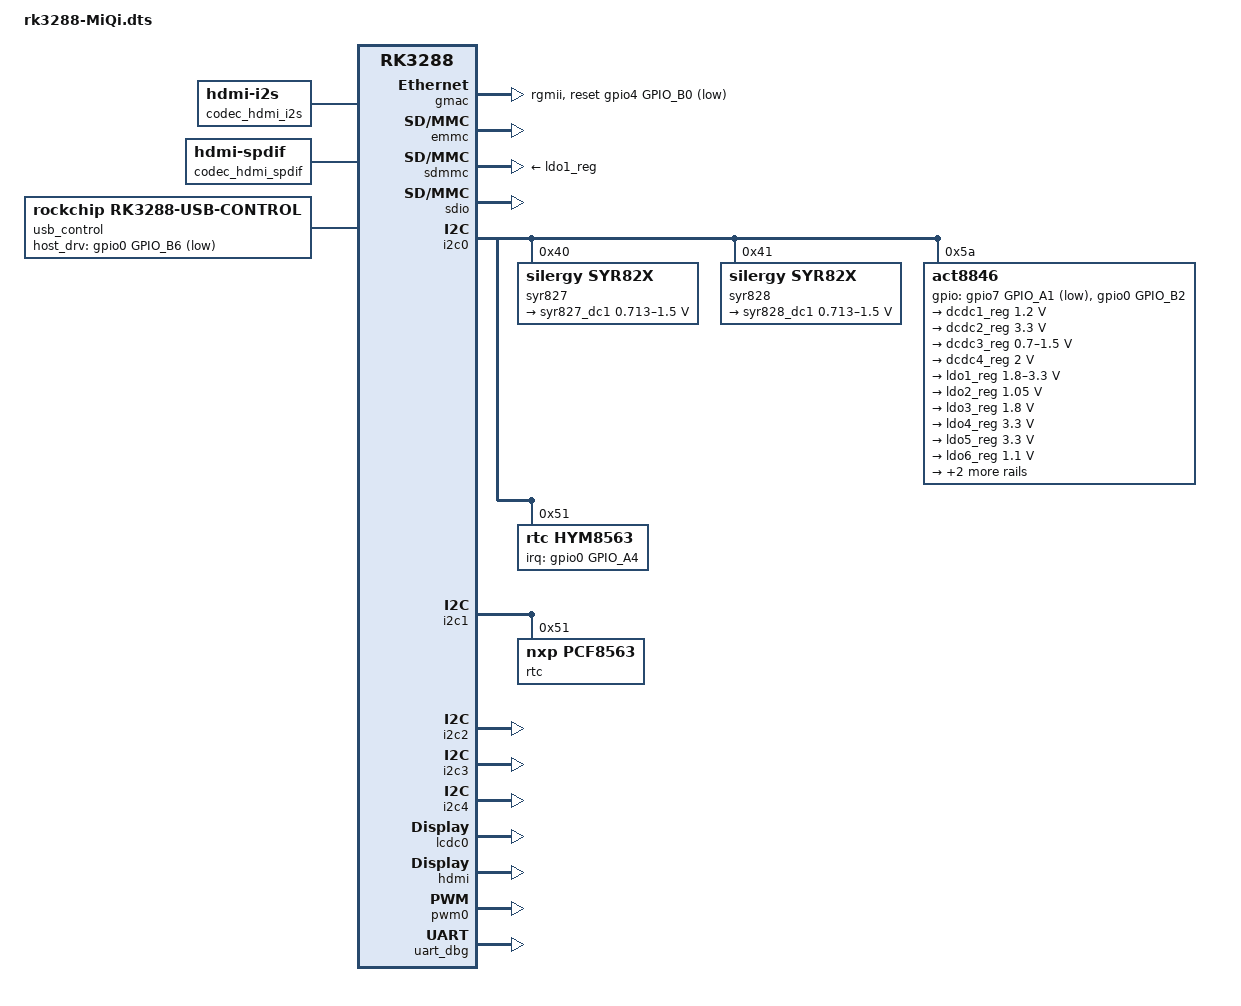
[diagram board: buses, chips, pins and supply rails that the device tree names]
/dts-v1/;

#include "rk3288.dtsi"
#include "lcd-box.dtsi"
#include <dt-bindings/input/input.h>

/ {
  fiq-debugger {
    status = "disabled";
  };

  hsic-usb-hub{
    compatible = "hub_reset";
    reset,pin =<&gpio7 GPIO_A6 GPIO_ACTIVE_HIGH>;	// hub reset pin
    status = "disabled";
  };

  wireless-wlan {
    compatible = "wlan-platdata";

    /* wifi_chip_type - wifi chip define
     * bcmwifi ==> like ap6xxx, rk90x;
     * rtkwifi ==> like rtl8188xx, rtl8723xx,rtl8812auv;
     * esp8089 ==> esp8089;
     * other   ==> for other wifi;
     */
    wifi_chip_type = "rtkwifi";
    keep_wifi_power_on;
    status = "disabled";
  };

  wireless-bluetooth {
    status = "disabled";
  };

 codec_hdmi_i2s: codec-hdmi-i2s {
    compatible = "hdmi-i2s";
  };

 codec_hdmi_spdif: codec-hdmi-spdif {
    compatible = "hdmi-spdif";
  };

  rockchip-hdmi-i2s {
    status = "disabled";
    compatible = "rockchip-hdmi-i2s";
    dais {
      dai0 {
	audio-codec = <&codec_hdmi_i2s>;
	audio-controller = <&i2s>;
	format = "i2s";
	//continuous-clock;
	//bitclock-inversion;
	//frame-inversion;
	//bitclock-master;
	//frame-master;
      };
    };
  };

  usb_control {
    compatible = "rockchip,rk3288-usb-control";
    host_drv_gpio = <&gpio0 GPIO_B6 GPIO_ACTIVE_LOW>;
    rockchip,remote_wakeup;
    rockchip,usb_irq_wakeup;
  };
 };

&gmac {
  reset-gpio = <&gpio4 GPIO_B0 GPIO_ACTIVE_LOW>;
  phy-mode = "rgmii";
  clock_in_out = "input";
  tx_delay = <0x30>;
  rx_delay = <0x10>;
};

&pinctrl {
  //used for init some gpio

  init-gpios = <&gpio8 GPIO_A1 GPIO_ACTIVE_HIGH
    &gpio7 GPIO_B1 GPIO_ACTIVE_HIGH
    &gpio4 GPIO_B0 GPIO_ACTIVE_HIGH>;

  gpio0_gpio {
  gpio0_c2: gpio0-c2 {
      rockchip,pins = <GPIO0_C2>;
      rockchip,pull = <VALUE_PULL_DOWN>;
    };

  };

  gpio7_gpio {
  gpio7_b7: gpio7-b7 {
      rockchip,pins = <GPIO7_B7>;
      rockchip,pull = <VALUE_PULL_UP>;
    };

    //to add
  };
  //could add other pinctrl definition such as gpio

  // gmac drive strength
  gpio4_gmac {
  mac_clk: mac-clk {
      rockchip,drive = <VALUE_DRV_12MA>;
    };

  mac_txpins: mac-txpins {
      rockchip,drive = <VALUE_DRV_12MA>;
    };

  mac_rxpins: mac-rxpins {
      rockchip,drive = <VALUE_DRV_12MA>;
    };

  mac_crs: mac-crs {
      rockchip,drive = <VALUE_DRV_12MA>;
    };

  mac_mdpins: mac-mdpins {
      rockchip,drive = <VALUE_DRV_12MA>;
    };
  };
};

&emmc {
  clock-frequency = <750000000>;
  clock-freq-min-max = <400000 75000000>;

  supports-highspeed;
  supports-emmc;
  bootpart-no-access;
  supports-tSD;//only tsd-sdcard mode
  supports-DDR_MODE;
  caps2-mmc-hs200;

  ignore-pm-notify;
  keep-power-in-suspend;
  //poll-hw-reset
  status = "okay";
};

&sdmmc {
  clock-frequency = <50000000>;
  lock-freq-min-max = <400000 50000000>;
  supports-highspeed;
  supports-sd;
  broken-cd;
  card-detect-delay = <200>;

  ignore-pm-notify;
  keep-power-in-suspend;

  vmmc-supply = <&ldo1_reg>;
  status = "okay";
};

&sdio {
  clock-frequency = <50000000>;
  clock-freq-min-max = <200000 50000000>;
  supports-highspeed;
  supports-sdio;
  ignore-pm-notify;
  keep-power-in-suspend;
  //cap-sdio-irq;
  status = "okay";
};

&i2c0 {
  status = "okay";
 syr827: syr827@40 {
    compatible = "silergy,syr82x";
    reg = <0x40>;
    status = "okay";
    regulators {
#address-cells = <1>;
#size-cells = <0>;
    syr827_dc1: regulator@0 {
	reg = <0>;
	regulator-compatible = "syr82x_dcdc1";
	regulator-name = "vdd_arm";
	regulator-min-microvolt = <712500>;
	regulator-max-microvolt = <1500000>;
	regulator-always-on;
	regulator-boot-on;
	regulator-initial-mode = <0x2>;
	regulator-initial-state = <3>;
	regulator-state-mem {
	  regulator-state-mode = <0x2>;
	  regulator-state-enabled;
	  regulator-state-uv = <900000>;
	};
      };
    };
  };

 syr828: syr828@41 {
    compatible = "silergy,syr82x";
    reg = <0x41>;
    status = "okay";
    regulators {
#address-cells = <1>;
#size-cells = <0>;
    syr828_dc1: regulator@0 {
	reg = <0>;
	regulator-compatible = "syr82x_dcdc1";
	regulator-name = "vdd_gpu";
	regulator-min-microvolt = <712500>;
	regulator-max-microvolt = <1500000>;
	regulator-always-on;
	regulator-boot-on;
	regulator-initial-mode = <0x2>;
	regulator-initial-state = <3>;
	regulator-state-mem {
	  regulator-state-mode = <0x2>;
	  regulator-state-disabled;
	  regulator-state-uv = <900000>;
	};
      };
    };
  };
 act8846: act8846@5a {
    reg = <0x5a>;
    status = "okay";
  };

  rtc@51 {
    compatible = "rtc,hym8563";
    reg = <0x51>;
    irq_gpio = <&gpio0 GPIO_A4 IRQ_TYPE_EDGE_FALLING>;
  };
};

&i2c1 {
  status = "okay";
  rtc@51 {
    compatible = "nxp,pcf8563";
    reg = <0x51>;
  };
};

&i2c2 {
  status = "okay";
};

&i2c3 {
  status = "okay";
};

&i2c4 {
  status = "okay";
};

&i2c5 {
  status = "disabled";
};

&fb {
  rockchip,disp-mode = <DUAL>;
  rockchip,uboot-logo-on = <1>;
  rockchip,disp-policy = <DISPLAY_POLICY_BOX_TEMP>;
};

&disp_timings {
  native-mode = <&timing1>;
};

&rk_screen {
  display-timings = <&disp_timings>;
};

/*lcdc0 as PRMRY(HDMI)*/
&lcdc0 {
  status = "okay";
  rockchip,iommu-enabled = <1>;
  rockchip,prop = <PRMRY>;
};

&lcdc1 {
  status = "disabled";
  rockchip,iommu-enabled = <1>;
  rockchip,prop = <EXTEND>;
};

&hdmi {
  status = "okay";
  rockchip,cec_enable = <0>;
  rockchip,hdcp_enable = <0>;
};

&ion_cma {
  reg = <0x00000000 0x1000000>; /* 16MB */
};

&vpu {
  iommu_enabled = <1>;
};

&hevc {
  iommu_enabled = <1>;
};

&iep {
  iommu_enabled = <1>;
};

&clk_core_dvfs_table {
  support-pvtm = <1>;
  pvtm-operating-points = <
    /* KHz    uV	pvtm margin*/
    //		126000   900000	25000
    //		216000   900000	25000
    //		312000   900000	25000
    408000   900000	25000
    600000   950000	50000
    696000   950000	50000
    816000  1000000	50000
    1008000 1050000	75000
    1200000 1100000	75000
    1416000 1200000	75000
    1512000 1300000	75000
    1608000 1350000	75000
    //		1704000 1350000	75000
    //		1800000 1350000	75000
    >;
  status="okay";
};

&clk_gpu_dvfs_table {
  operating-points = <
    /* KHz    uV */
    //		100000 900000
    200000 900000
    300000 950000
    420000 1100000
    500000 1150000
    //		600000 1250000
    >;
  status="okay";
};

&clk_ddr_dvfs_table {
  operating-points = <
    /* KHz    uV */
    200000 1075000
    300000 1075000
    456000 1125000
    533000 1150000
    >;

  freq-table = <
    /*status		freq(KHz)*/
    SYS_STATUS_NORMAL	456000
    SYS_STATUS_SUSPEND	200000
    //SYS_STATUS_VIDEO_1080P  240000
    SYS_STATUS_VIDEO_4K     533000
    SYS_STATUS_PERFORMANCE  533000
    //SYS_STATUS_BOOST	324000
    //SYS_STATUS_ISP	400000
    >;
  auto-freq-table = <
    240000
    324000
    456000
    528000
    >;
  auto-freq=<0>;
  status="okay";
};
/include/ "act8846.dtsi"
&act8846 {
  gpios =<&gpio7 GPIO_A1 GPIO_ACTIVE_LOW>,<&gpio0 GPIO_B2 GPIO_ACTIVE_HIGH>;
  act8846,system-power-controller;

  regulators {

  dcdc1_reg: regulator@0{
      regulator-name= "act_dcdc1";
      regulator-min-microvolt = <1200000>;
      regulator-max-microvolt = <1200000>;
      regulator-always-on;
      regulator-boot-on;
    };

  dcdc2_reg: regulator@1 {
      regulator-name= "vccio";
      regulator-min-microvolt = <3300000>;
      regulator-max-microvolt = <3300000>;
      regulator-initial-state = <3>;
      regulator-state-mem {
	regulator-state-enabled;
	regulator-state-uv = <3300000>;
      };
    };

  dcdc3_reg: regulator@2 {
      regulator-name= "vdd_logic";
      regulator-min-microvolt = <700000>;
      regulator-max-microvolt = <1500000>;
      regulator-initial-state = <3>;
      regulator-state-mem {
	regulator-state-enabled;
	regulator-state-uv = <1200000>;
      };

    };

  dcdc4_reg: regulator@3 {
      regulator-name= "act_dcdc4";
      regulator-min-microvolt = <2000000>;
      regulator-max-microvolt = <2000000>;
      regulator-initial-state = <3>;
      regulator-state-mem {
	regulator-state-enabled;
	regulator-state-uv = <2000000>;
      };
    };

  ldo1_reg: regulator@4 {
      regulator-name= "vccio_sd";
      regulator-min-microvolt = <1800000>;
      regulator-max-microvolt = <3300000>;

    };

  ldo2_reg: regulator@5 {
      regulator-name= "act_ldo2";
      regulator-min-microvolt = <1050000>;
      regulator-max-microvolt = <1050000>;

    };

  ldo3_reg: regulator@6 {
      regulator-name= "act_ldo3";
      regulator-min-microvolt = <1800000>;
      regulator-max-microvolt = <1800000>;

    };

  ldo4_reg:regulator@7 {
      regulator-name= "act_ldo4";
      regulator-min-microvolt = <3300000>;
      regulator-max-microvolt = <3300000>;

    };

  ldo5_reg: regulator@8 {
      regulator-name= "act_ldo5";
      regulator-min-microvolt = <3300000>;
      regulator-max-microvolt = <3300000>;

    };

  ldo6_reg: regulator@9 {
      regulator-name= "act_ldo6";
      regulator-min-microvolt = <1100000>;
      regulator-max-microvolt = <1100000>;
      regulator-initial-state = <3>;
      regulator-state-mem {
	regulator-state-enabled;
      };

    };

  ldo7_reg: regulator@10 {
      regulator-name= "vcc_18";
      regulator-min-microvolt = <1800000>;
      regulator-max-microvolt = <1800000>;
      regulator-initial-state = <3>;
      regulator-state-mem {
	regulator-state-enabled;
      };

    };

  ldo8_reg: regulator@11 {
      regulator-name= "act_ldo8";
      regulator-min-microvolt = <1850000>;
      regulator-max-microvolt = <1850000>;

    };
  };
 };

&lcdc_vdd_domain {
  regulator-name = "vcc30_lcd";
};
&dpio_vdd_domain{
  regulator-name = "vcc18_cif";
};
&flash0_vdd_domain{
  regulator-name = "vcc_flash";
};
&flash1_vdd_domain{
  regulator-name = "vcc_flash";
};
&apio3_vdd_domain{
  regulator-name = "vccio_wl";
};
&apio5_vdd_domain{
  regulator-name = "vccio";
};
&apio4_vdd_domain{
  regulator-name = "vccio";
};
&apio1_vdd_domain{
  regulator-name = "vccio";
};
&apio2_vdd_domain{
  regulator-name = "vccio";
};
&sdmmc0_vdd_domain{
  regulator-name = "vcc_sd";
};

/*
 * Due to not have the software of PWM for remotectrl.
 * We can _*HACK*_ do that as the following.
 */
&pwm0 {
  compatible = "rockchip,remotectl-pwm";
  remote_pwm_id = <0>;
  handle_cpu_id = <1>;
  status = "okay";

  ir_key1{
    rockchip,usercode = <0x4040>;
    rockchip,key_table =
      <0xf2	KEY_REPLY>,
      <0xba	KEY_BACK>,
      <0xf4	KEY_UP>,
      <0xf1	KEY_DOWN>,
      <0xef	KEY_LEFT>,
      <0xee	KEY_RIGHT>,
      <0xbd	KEY_HOME>,
      <0xea	KEY_VOLUMEUP>,
      <0xe3	KEY_VOLUMEDOWN>,
      <0xe2	KEY_SEARCH>,
      <0xb2	KEY_POWER>,
      <0xbc	KEY_MUTE>,
      <0xec	KEY_MENU>,
      <0xbf	0x190>,
      <0xe0	0x191>,
      <0xe1	0x192>,
      <0xe9	183>,
      <0xe6	248>,
      <0xe8	185>,
      <0xe7	186>,
      <0xf0	388>,
      <0xbe	0x175>;
  };
  ir_key2{
    rockchip,usercode = <0xff00>;
    rockchip,key_table =
      <0xf9	KEY_HOME>,
      <0xbf	KEY_BACK>,
      <0xfb	KEY_MENU>,
      <0xaa	KEY_REPLY>,
      <0xb9	KEY_UP>,
      <0xe9	KEY_DOWN>,
      <0xb8	KEY_LEFT>,
      <0xea	KEY_RIGHT>,
      <0xeb	KEY_VOLUMEDOWN>,
      <0xef	KEY_VOLUMEUP>,
      <0xf7	KEY_MUTE>,
      <0xe7	KEY_POWER>,
      <0xfc	KEY_POWER>,
      <0xa9	KEY_VOLUMEDOWN>,
      <0xa8	KEY_VOLUMEDOWN>,
      <0xe0	KEY_VOLUMEDOWN>,
      <0xa5	KEY_VOLUMEDOWN>,
      <0xab	183>,
      <0xb7	388>,
      <0xf8	184>,
      <0xaf	185>,
      <0xed	KEY_VOLUMEDOWN>,
      <0xee	186>,
      <0xb3	KEY_VOLUMEDOWN>,
      <0xf1	KEY_VOLUMEDOWN>,
      <0xf2	KEY_VOLUMEDOWN>,
      <0xf3	KEY_SEARCH>,
      <0xb4	KEY_VOLUMEDOWN>,
      <0xbe	KEY_SEARCH>;
  };
  ir_key3{
    rockchip,usercode = <0x1dcc>;
    rockchip,key_table =
      <0xee	KEY_REPLY>,
      <0xf0	KEY_BACK>,
      <0xf8	KEY_UP>,
      <0xbb	KEY_DOWN>,
      <0xef	KEY_LEFT>,
      <0xed	KEY_RIGHT>,
      <0xfc	KEY_HOME>,
      <0xf1	KEY_VOLUMEUP>,
      <0xfd	KEY_VOLUMEDOWN>,
      <0xb7	KEY_SEARCH>,
      <0xff	KEY_POWER>,
      <0xf3	KEY_MUTE>,
      <0xbf	KEY_MENU>,
      <0xf9	0x191>,
      <0xf5	0x192>,
      <0xb3	388>,
      <0xbe	KEY_1>,
      <0xba	KEY_2>,
      <0xb2	KEY_3>,
      <0xbd	KEY_4>,
      <0xf9	KEY_5>,
      <0xb1	KEY_6>,
      <0xfc	KEY_7>,
      <0xf8	KEY_8>,
      <0xb0	KEY_9>,
      <0xb6	KEY_0>,
      <0xb5	KEY_BACKSPACE>;
  };
};

&uart_dbg {
  status = "okay";
};

